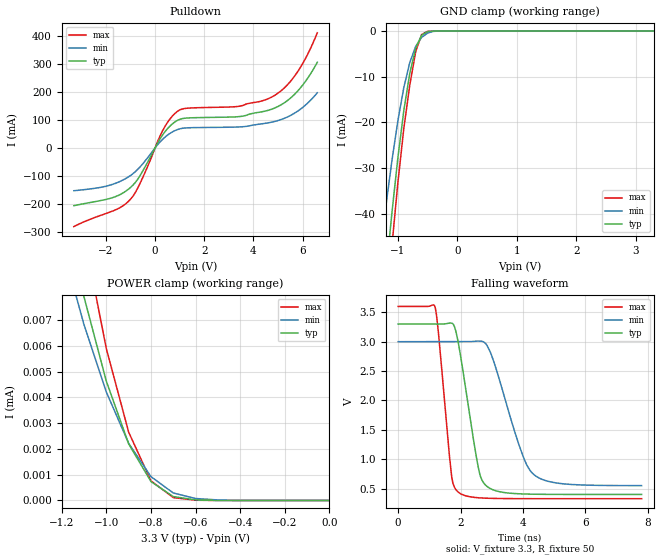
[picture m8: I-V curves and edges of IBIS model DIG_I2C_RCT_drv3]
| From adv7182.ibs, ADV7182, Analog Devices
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[Model] DIG_I2C_RCT_drv3
Model_type I/O_open_drain
Vinl = 1.37V
Vinh = 1.67V
C_comp 2.731163pF 1.729022pF 7.964107pF
Vmeas = 1.65V
Cref = 10pF
[Model Spec]
| Subparameter   typ   min   max
| Thresholds
Vinh   1.54V   1.44V   1.67V
Vinl   1.48V   1.37V   1.61V
| Overshoot
S_overshoot_high   3.60V   3.30V   3.90V
S_overshoot_low   -0.30V   NA   NA
| Timing spec related
Vmeas   1.65V   1.50V   1.80V
Cref   10pF   NA   NA
| variable   typ   min   max
[Temperature Range]   25   125   -40
[Voltage Range]   3.30V   3.00V   3.60V
[Pulldown Reference]   0V   0V   0V
[GND Clamp Reference]   0V   0V   0V
[POWER Clamp Reference]  3.30V   3.00V   3.60V
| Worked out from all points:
|   slope of the pulldown table from 0 to 0.495 V, typ, clamps not added: 7.29 ohm
|   GND clamp passes 1 mA (typ) near -0.60 V on its own axis
|   falling waveform, V_fixture 3.3, R_fixture 50: 20-80 % time 513ps typ, 855ps min, 331ps max; typ from 3.3 V to 0.401 V
[Pulldown]
| Note: Vtable = Vpin
| Voltage   I(typ)   I(min)   I(max)
-3.3V     -206.2mA   -152.8mA   -281.1mA
-1.7V     -176.8mA   -129.2mA   -224.6mA
-1V       -141.4mA   -98.5mA    -183.5mA
-600mV    -97.49mA   -66.88mA   -124.8mA
300mV     45.71mA    30.43mA    60.48mA
900mV     98.2mA     65.58mA    130.4mA
1.3V      107.3mA    72.16mA    142.4mA
3.4V      112.3mA    75.3mA     149.1mA
4.8V      140.7mA    93.62mA    185mA
5.7V      194.4mA    126.1mA    260.2mA
6.2V      248.7mA    160.2mA    334mA
6.6V      306.9mA    197.7mA    412.1mA
[GND Clamp]
| Note: Vtable = Vpin
| Voltage   I(typ)   I(min)   I(max)
-3.3V     -431.8mA   -349mA     -484.3mA
-1.3V     -67.14mA   -48.94mA   -78.55mA
-1.2V     -53.08mA   -38.26mA   -62.36mA
-1.1V     -39.88mA   -28.44mA   -47.13mA
-1V       -27.84mA   -19.7mA    -33.28mA
-900mV    -17.44mA   -12.4mA    -21.37mA
-800mV    -9.272mA   -6.915mA   -11.88mA
-700mV    -3.752mA   -3.35mA    -4.502mA
-600mV    -904.8uA   -1.389mA   -763.7uA
-500mV    -118.6uA   -438.4uA   -60.27uA
-300mV    -541.4nA   -7.115uA   -61.02nA
3.3V      0A         0A         0A
[Power Clamp]
| Note: Vtable = VCC - Vpin
| Voltage   I(typ)   I(min)   I(max)
-3.3V     215.8uA    169.6uA    286.8uA
-1.2V     11.9uA     9.962uA    15.75uA
-1.1V     7.892uA    6.814uA    10.3uA
-1V       4.624uA    4.205uA    5.886uA
-900mV    2.196uA    2.217uA    2.651uA
-800mV    733.8nA    925.3nA    762.1nA
-700mV    152.1nA    290.8nA    110.8nA
-600mV    22.95nA    76.33nA    10.03nA
-400mV    0A         0A         0A
0V        0A         0A         0A
[Ramp]
| Variable   typ   min   max
dV/dt_r   1.74V/176.0727ps   1.60V/233.9299ps   1.80V/153.8631ps
dV/dt_f   1.74V/513.3246ps   1.60V/949.7367ps   1.80V/303.5569ps
R_load =  50
[Falling Waveform]
V_fixture =  3.3
R_fixture =  50
V_fixture_max =  3.6
V_fixture_min =  3
| R_dut = 0.23Ohm
| L_dut = 6.2nH
| C_dut = 1.05pF
| Time   V(typ)   V(min)   V(max)
0s        3.3V       3V         3.6V
1.182ns   3.3V       3V         3.591V
1.296ns   3.3V       3V         3.13V
1.712ns   3.316V     3V         724.6mV
1.924ns   2.995V     3V         443.1mV
2.57ns    860.2mV    3.011V     345.4mV
2.827ns   548.6mV    2.953V     337.9mV
3.958ns   411mV      1.12V      330.2mV
4.347ns   405.6mV    742.6mV    329.8mV
7.805ns   401.5mV    551.6mV    329.6mV
